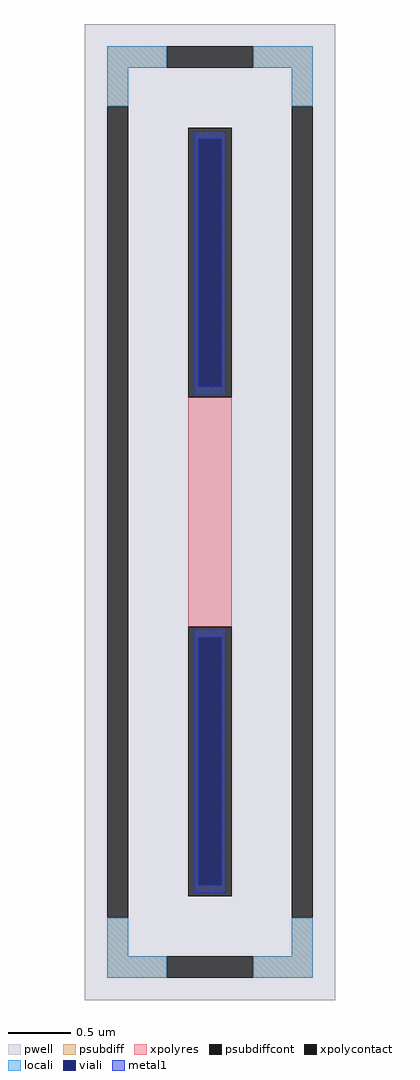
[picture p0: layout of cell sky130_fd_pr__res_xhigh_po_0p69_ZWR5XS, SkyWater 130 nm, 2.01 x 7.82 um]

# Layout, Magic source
magic
tech sky130A
magscale 1 2
<< pwell >>
rect -201 -782 201 782
<< psubdiff >>
rect -165 712 -69 746
rect 69 712 165 746
rect -165 650 -131 712
rect 131 650 165 712
rect -165 -712 -131 -650
rect 131 -712 165 -650
rect -165 -746 -69 -712
rect 69 -746 165 -712
<< psubdiffcont >>
rect -69 712 69 746
rect -165 -650 -131 650
rect 131 -650 165 650
rect -69 -746 69 -712
<< xpolycontact >>
rect -35 184 35 616
rect -35 -616 35 -184
<< xpolyres >>
rect -35 -184 35 184
<< locali >>
rect -165 712 -69 746
rect 69 712 165 746
rect -165 650 -131 712
rect 131 650 165 712
rect -165 -712 -131 -650
rect 131 -712 165 -650
rect -165 -746 -69 -712
rect 69 -746 165 -712
<< viali >>
rect -19 201 19 598
rect -19 -598 19 -201
<< metal1 >>
rect -25 598 25 610
rect -25 201 -19 598
rect 19 201 25 598
rect -25 189 25 201
rect -25 -201 25 -189
rect -25 -598 -19 -201
rect 19 -598 25 -201
rect -25 -610 25 -598
<< properties >>
string FIXED_BBOX -148 -729 148 729
string gencell sky130_fd_pr__res_xhigh_po_0p69
string library sky130
string parameters w 0.350 l 2 m 1 nx 1 wmin 0.350 lmin 0.50 rho 2000 val 12.504k dummy 0 dw 0.0 term 188.2 sterm 0.0 caplen 0 wmax 0.350 guard 1 glc 1 grc 1 gtc 1 gbc 1 compatible {sky130_fd_pr__res_xhigh_po_0p35  sky130_fd_pr__res_xhigh_po_0p69 sky130_fd_pr__res_xhigh_po_1p41  sky130_fd_pr__res_xhigh_po_2p85 sky130_fd_pr__res_xhigh_po_5p73} snake 0 full_metal 1 n_guard 0 hv_guard 0 vias 1 viagb 0 viagt 0 viagl 0 viagr 0
<< end >>
